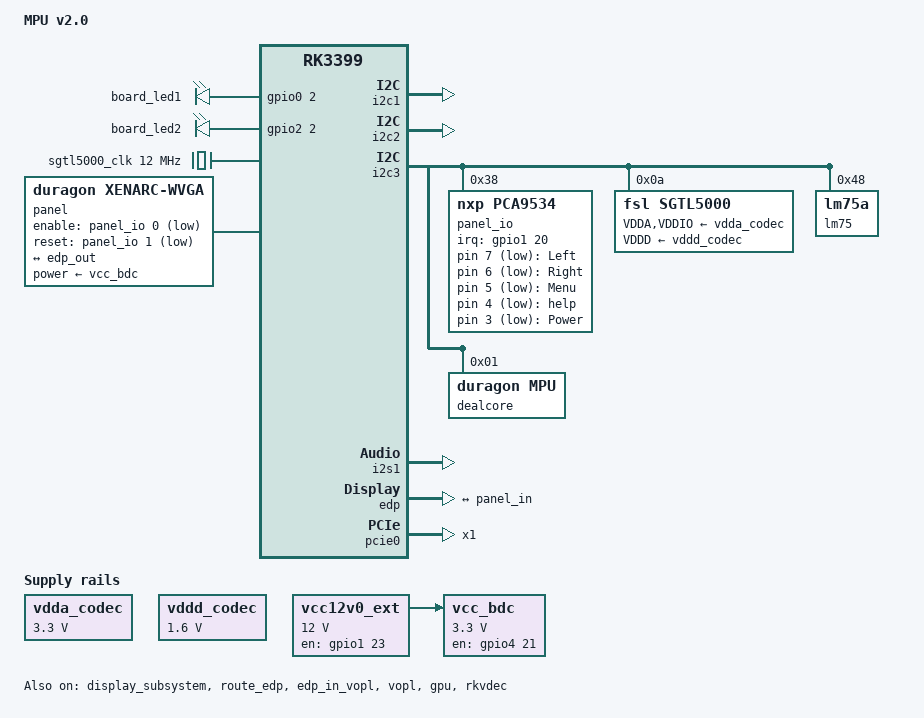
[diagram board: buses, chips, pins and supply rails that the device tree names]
/dts-v1/;

#include "friendlyelec-som-rk3399.dtsi"

/ {
	model = "MPU v2.0";
	compatible = "rockchip,rk3399", "friendlyelec,som-rk3399", "duragon,mpu-v2";

	chosen {
		// bootargs = "earlyprintk console=ttyS2,1500000n8 rw root=/dev/mmcblk0p4 rootwait rootfstype=ext4 init=/sbin/init";
		bootargs = "initcall_debug earlycon=uart8250,mmio32,0xff1a0000 swiotlb=1 console=ttyFIQ0 rw root=/dev/mmcblk0p4 rootwait rootfstype=ext4  coherent_pool=1m";
	};
	
	board_leds: board-leds {
		compatible = "gpio-leds";
		pinctrl-names = "default";
		pinctrl-0 = <&board_leds_gpios>;
		led1 {
			label = "board_led1";
			gpios = <&gpio0 2 GPIO_ACTIVE_HIGH>;
			linux,default-trigger = "heartbeat";
			linux,default-trigger-delay-ms = <0>;
		};
		led2 {
			label = "board_led2";
			gpios = <&gpio2 2 GPIO_ACTIVE_HIGH>;
			linux,default-trigger = "heartbeat";
			linux,default-trigger-delay-ms = <0>;
		};
	};

	vdda_codec: vdda-codec {
		compatible = "regulator-fixed";
		regulator-name = "vdda_codec";
		regulator-always-on;
		regulator-boot-on;
		regulator-min-microvolt = <3300000>;
		regulator-max-microvolt = <3300000>;
	};

	vddd_codec: vddd-codec {
		compatible = "regulator-fixed";
		regulator-name = "vddd_codec";
		regulator-always-on;
		regulator-boot-on;
		regulator-min-microvolt = <1600000>;
		regulator-max-microvolt = <1600000>;
	};

	sgtl5000_clk: sgtl5000-oscillator  {
			compatible = "fixed-clock";
			#clock-cells = <0>;
			clock-frequency  = <12000000>;
	};

	sgtl5000_sound: sgtl5000-sound {
		compatible = "simple-audio-card";
		simple-audio-card,format = "i2s";
		simple-audio-card,name = "Haikou,I2S-codec";
		// 24.576 MHz oscillator on the baseboard, divided by 512 = 48 kHz
		simple-audio-card,mclk-fs = <512>;
		simple-audio-card,cpu {
			sound-dai = <&i2s1>;
			frame-master;
			bitclock-master;
		};
		simple-audio-card,codec {
			sound-dai = <&sgtl5000>;
			clocks = <&sgtl5000_clk>;
		};
	};

	vcc12v0_ext: vcc12v0-ext {
		compatible = "regulator-fixed";
		regulator-name = "vcc12v0_ext";
		gpio = <&gpio1 23 GPIO_ACTIVE_HIGH>;	/* BDC Power - GPIO1_C7 */
		enable-active-high;
		regulator-boot-on;
		regulator-min-microvolt = <12000000>;
		regulator-max-microvolt = <12000000>;
	};

	vcc_bdc: bdc-pwr {
		compatible = "regulator-fixed";
		regulator-name = "vcc_bdc";
		gpio = <&gpio4 21 GPIO_ACTIVE_HIGH>;	/* BDC Power - GPIO4_C5 */
		enable-active-high;
		startup-delay-us = <20000>;
		regulator-min-microvolt = <3300000>;
		regulator-max-microvolt = <3300000>;
		regulator-boot-on;
		vin-supply = <&vcc12v0_ext>;
	};

	panel: panel {
		status = "okay";
		compatible = "duragon, xenarc-wvga";
		power-supply = <&vcc_bdc>;
		control-i2c-bus = <&i2c3>;
		enable-gpio = <&panel_io 0 GPIO_ACTIVE_LOW>;
		reset-gpio = <&panel_io 1 GPIO_ACTIVE_LOW>;
		edp_to_lvds: ptn3460 {
			address = <0x60>;
		};
		fpd_link_ser: ds90ub927q {
			address = <0x1b>;
		};		
		fpd_link_deser: ds90ub928q {
			address = <0x3b>;
		};		
		display_io: pca9534a {
			address = <0x38>;
		};

		ports {
			panel_in: endpoint {
				remote-endpoint = <&edp_out>;
			};
		};
	};

	panel_keys: panel-keys {
		compatible = "gpio-keys";
		left {
			label = "Left";
			linux,code = <KEY_LEFT>;
			gpios = <&panel_io 7 GPIO_ACTIVE_LOW>;
		};
		right {
			label = "Right";
			linux,code = <KEY_RIGHT>;
			gpios = <&panel_io 6 GPIO_ACTIVE_LOW>;
		};
		menu {
			label = "Menu";
			linux,code = <KEY_MENU>;
			gpios = <&panel_io 5 GPIO_ACTIVE_LOW>;
		};
		help {
			label = "help";
			linux,code = <KEY_HELP>;
			gpios = <&panel_io 4 GPIO_ACTIVE_LOW>;
		};
		power {
			label = "Power";
			linux,code = <KEY_POWER>;
			gpios = <&panel_io 3 GPIO_ACTIVE_LOW>;
		};
	};
};

&vcc1v8_dvp {
	status = "okay";
};

&vcc3v0_tp {
	status = "disabled";
};

&vcca3v0_codec {
	status = "okay";
};

&i2c1 {
	status = "okay";

};

&i2c2 {
	status = "okay";
};

&i2c3 {
	status = "okay";

	panel_io: panel-io@38 {
		status = "okay";
		compatible = "nxp,pca9534";
		reg = <0x38>;
		gpio-controller;
		#gpio-cells = <2>;
		pinctrl-names = "default";
		pinctrl-0 = <&touch_interrupt_gpio>;
		interrupt-parent = <&gpio1>;
		interrupts = <20 IRQ_TYPE_LEVEL_LOW>;
		gpio-line-name = "lcd_enable", 
						 "touch_reset", 
						 "logo_led", 
						 "button1", "button2", "button3", "button4", "button5";
	};

	// eDP_LVDS_bridge: ptn3460@60 {
	// 	status = "disabled";
	// 	compatible = "nxp,ptn3460";
	// 	reg = <0x60>;
	// 	edid-emulation = <7>;	/* 0 to 6 from ROM 7 - BDC 800x480 */
	// 	ports {
	// 		lvds_source: port@0 {
	// 			bridge_out: endpoint {
	// 				remote-endpoint = <&panel_in>;
	// 			};
	// 		};
	// 		edp_sink: port@1 {
	// 			bridge_in: endpoint {
	// 				remote-endpoint = <&edp_out>;
	// 			};
	// 		};
	// 	};
	// };

	sgtl5000: codec@0a {
		status = "okay";
		#sound-dai-cells = <0>;
		compatible = "fsl,sgtl5000";
		reg = <0x0a>;
		VDDA-supply = <&vdda_codec>;
		VDDIO-supply = <&vdda_codec>;
		VDDD-supply = <&vddd_codec>;
		clocks = <&sgtl5000_clk>;
	};

	lm75@48 {
		status = "okay";
		compatible = "lm75a";
		reg = <0x48>;
	};

	eeprom@51 {
		status = "disabled";
		compatible = "24c64";
		reg = <0x51>;
	};

	tsc2007@4a {
		status = "disabled";
		compatible = "ti,tsc2007";
		reg = <0x4a>;
		interrupt-parent = <&gpio1>;
		interrupts = <20 IRQ_TYPE_LEVEL_LOW>;
		gpios = <&gpio1 20 GPIO_ACTIVE_HIGH>;
		ti,x-plate-ohms = <180>;
	};

	touch: ilitek@41 {
		status = "disabled";
		compatible = "tchip,ilitek";
		reg = <0x41>;
		// vdd-supply = <&deserializer_pwr>;
		interrupt-parent = <&gpio1>;
		interrupts = <20 IRQ_TYPE_LEVEL_LOW>;
		ilitek,irq-gpio = <&gpio1 20 GPIO_ACTIVE_HIGH>;
		// ilitek,reset-gpio = <&gpio_expander 1 GPIO_ACTIVE_HIGH>;
		// ilitek,vbus = "vcc_i2c";
		// ilitek,vdd = "vdd";
		// ilitek,name = "ilitek_i2c";
	};

	dealcore: dealcore@01 {
		status = "okay";
		compatible = "duragon,mpu";
		reg = <0x01>;
	};
};

&rt5651_card {
	status = "disabled";
};

&i2s0 {
	status = "disabled";
};

&i2s1 {
	status = "okay";
	rockchip,i2s-broken-burst-len;
	rockchip,playback-channels = <2>;
	rockchip,capture-channels = <2>;
	#sound-dai-cells = <0>;
};

&i2s2 {
	status = "disabled";
};

&display_subsystem {
	status = "okay";
};

/* EDP */
&route_edp {
	status = "okay";
	logo,mode = "center";
};
&edp_in_vopl {
	status = "okay";	/* EDP route through video output little */
};
&edp_in_vopb {
	status = "disabled";
};
&vopl {
	status = "okay";
};
&vopl_mmu {
	status = "okay";
};
&edp {
	status = "okay";
	force-hpd;
	/delete-property/ pinctrl-0;

	ports {
		edp_source: port@1 {
			reg = <1>;
			edp_out: endpoint {
				remote-endpoint = <&panel_in>;
				// remote-endpoint = <&bridge_in>;
			};
		};
	};
};
/* EDP */

/* HDMI */
&i2c7 {
	status = "disabled";
};
&route_hdmi {
	status = "disabled";
	logo,mode = "center";
};
&hdmi_in_vopl {
	status = "disabled";	/* Always Disabled */
};
&hdmi_in_vopb {
	status = "disabled";
};
&vopb {
	status = "disabled";
};
&vopb_mmu {
	status = "disabled";
};
&hdmi {
	status = "disabled";
};
/* HDMI */

&gpu {
	status = "okay";
	mali-supply = <&vdd_gpu>;
};

// &vpu {
// 	status = "okay";
// 	/* 0 means ion, 1 means drm */
// 	//allocator = <0>;
// };

&rkvdec {
	status = "okay";
	/* 0 means ion, 1 means drm */
	//allocator = <0>;
};

&cdn_dp {
	status = "disabled";
};

&spdif {
	status = "disabled";
};

&pcie0 {
	status = "okay";
	/delete-property/ ep-gpios;
	/delete-property/ pinctrl-names;
	/delete-property/ pinctrl-0;
	num-lanes = <1>;
	max-link-speed = <2>;
};

&pwm0 {
	status = "disabled";
};

&pinctrl {
	
	/delete-node/ hdmiin;
	
	mpu {
		status = "okay";
		board_leds_gpios: board-leds-gpios {
			rockchip,pins = <0 2 RK_FUNC_GPIO &pcfg_pull_none>,
							<2 2 RK_FUNC_GPIO &pcfg_pull_none>;
		};
		control_gpios: control-gpios {
			rockchip,pins =
				<1 0 RK_FUNC_GPIO &pcfg_input>,			/* ICM-20948 Interrupt	<GPIO1_A0 - 34> */
				<1 1 RK_FUNC_GPIO &pcfg_output_high>,	/* SIM Selection		<GPIO1_A1 - 36> */				
				<1 2 RK_FUNC_GPIO &pcfg_output_high>,	/* External USB Power   <GPIO1_A2 - 38> */
				<1 3 RK_FUNC_GPIO &pcfg_input>,			/* AK8975 Interrupt		<GPIO1_A3 - 40> */
				<1 13 RK_FUNC_GPIO &pcfg_input>,		/* ANT_DET0				<GPIO1_B5 - 82> */
				<1 18 RK_FUNC_GPIO &pcfg_output_low>,	/* Speaker or Mic		<GPIO1_C2 - 43> */
				<1 22 RK_FUNC_GPIO &pcfg_output_high>,	/* SATA Bridge VBUS		<GPIO1_C6 - 44> */
				<1 23 RK_FUNC_GPIO &pcfg_output_high>,	/* ext +12v				<GPIO1_C7 - 46> */
				<1 24 RK_FUNC_GPIO &pcfg_output_high>,	/* modem reset			<GPIO1_D0 - 48> */
				<2 3 RK_FUNC_GPIO &pcfg_input>,			/* LM75 interrupt		<GPIO2_A3 - 41> */
				<2 5 RK_FUNC_GPIO &pcfg_pull_none>,		/* OLED Power			<GPIO2_A5 - 69> */
				<4 18 RK_FUNC_GPIO &pcfg_output_high>,	/* Modem Power			<GPIO4_C2 - 88> */
				<4 21 RK_FUNC_GPIO &pcfg_output_high>,	/* bdc +12				<GPIO4_C5 - 50> */
				<4 22 RK_FUNC_GPIO &pcfg_input>;		/* ANT_DET1				<GPIO4_C6 - 90> */
		};
		touch_interrupt_gpio: touch-interrupt-gpio {
			rockchip,pins = <1 20 RK_FUNC_GPIO &pcfg_pull_none>;		/* touch interrupt		<GPIO1_C4 - 84> */
		};
	};
};
